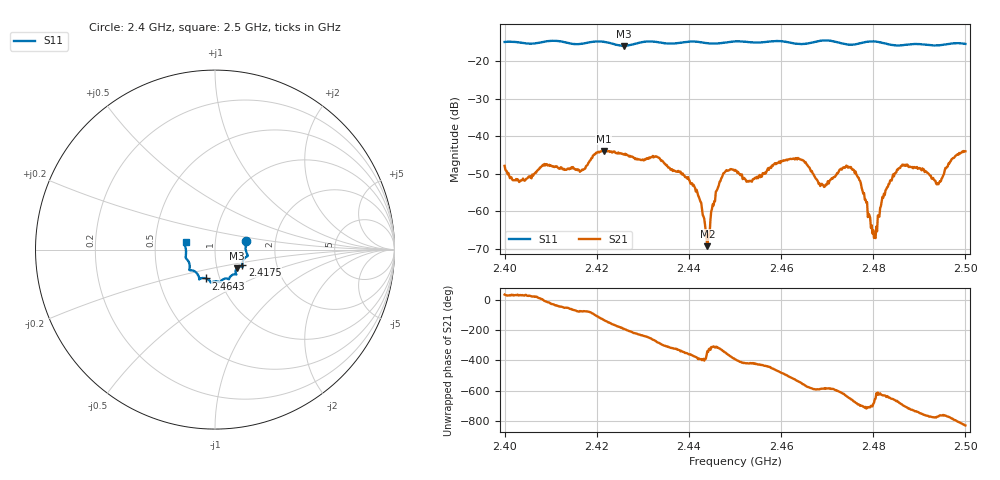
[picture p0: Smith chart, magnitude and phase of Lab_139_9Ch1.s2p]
# Hz S RI R 50
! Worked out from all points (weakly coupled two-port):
!   601 points, 2.4 GHz to 2.5 GHz, reference 50 ohm
!   highest |S21| = -43.94 dB at 2.4215 GHz (marker M1); lowest = -69.3 dB at 2.444 GHz (marker M2)
!   lowest |S11| = -15.9 dB at 2.4258 GHz (marker M3), VSWR 1.38, Z = 62.3 - j13.2 ohm
!   |S11| at or under -10 dB: start of sweep to end of sweep
!   S12 and S22 are empty: the file has one direction only
!   S11 on the Smith chart (normalised r, x): 2.4 GHz: 1.41, +0.14; 2.4175 GHz: 1.34, -0.23; 2.4643 GHz: 0.86, -0.29; 2.5 GHz: 0.72, +0.06
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2.4e9  0.1728 0.0489  0.00336 0.00221  0 0  0 0
2.403167e9  0.1743 0.0329  0.00215 0.00117  0 0  0 0
2.408667e9  0.1798 -0.0262  0.00421 -0.000645  0 0  0 0
2.416667e9  0.1528 -0.0739  0.000828 -0.00335  0 0  0 0
2.4175e9  0.1519 -0.0833  0.000835 -0.00361  0 0  0 0
2.4215e9  0.153 -0.0962  -0.0044 -0.00459  0 0  0 0
2.425833e9  0.1215 -0.1032  -0.00558 0.00108  0 0  0 0
2.433333e9  0.1133 -0.1373  0.00109 0.00507  0 0  0 0
2.441167e9  0.0768 -0.1649  0.00208 -0.000495  0 0  0 0
2.444e9  0.0635 -0.1608  0.000319 0.000123  0 0  0 0
2.447e9  0.0405 -0.1689  0.00231 0.00144  0 0  0 0
2.45e9  0.0289 -0.1809  0.00299 -0.00193  0 0  0 0
2.453167e9  0.0164 -0.1778  0.00128 -0.00218  0 0  0 0
2.464333e9  -0.0498 -0.161  -0.00483 0.000662  0 0  0 0
2.466667e9  -0.0758 -0.1594  -0.0025 0.00234  0 0  0 0
2.469e9  -0.0881 -0.1658  -0.00158 0.00162  0 0  0 0
2.475667e9  -0.1126 -0.1216  0.00218 0.00285  0 0  0 0
2.480333e9  -0.1437 -0.1121  0.000189 0.000409  0 0  0 0
2.483333e9  -0.1408 -0.0903  0.00056 0.00223  0 0  0 0
2.486833e9  -0.154 -0.0568  0.00382 0.00128  0 0  0 0
2.494167e9  -0.162 6.88e-08  0.00151 -0.00172  0 0  0 0
2.5e9  -0.1637 0.0432  -0.0019 -0.00598  0 0  0 0
